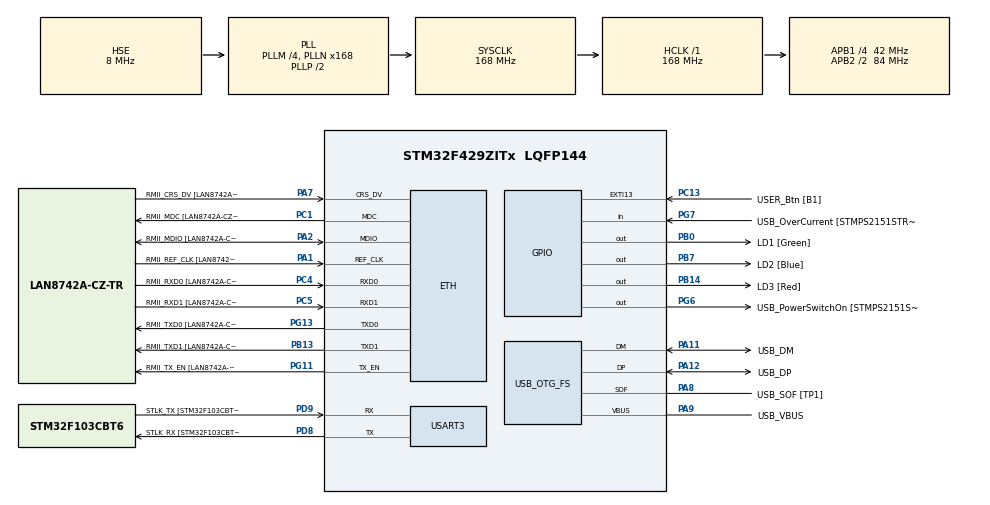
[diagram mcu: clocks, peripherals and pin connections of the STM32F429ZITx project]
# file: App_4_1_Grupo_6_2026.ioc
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ETH.MediaInterface=HAL_ETH_RMII_MODE
ETH.PHY_Name=LAN8742A_PHY_ADDRESS
ETH.PHY_Value=0
ETH.PhyAddress=0
Mcu.Family=STM32F4
Mcu.Name=STM32F429ZITx
Mcu.Package=LQFP144
NVIC.PriorityGroup=NVIC_PRIORITYGROUP_4
PA1.GPIO_Label=RMII_REF_CLK [LAN8742A-CZ-TR_REFCLK0]
PA1.Mode=RMII
PA1.Signal=ETH_REF_CLK
PA10.GPIO_Label=USB_ID
PA10.Signal=USB_OTG_FS_ID
PA11.GPIO_Label=USB_DM
PA11.Mode=Device_Only
PA11.Signal=USB_OTG_FS_DM
PA12.GPIO_Label=USB_DP
PA12.Mode=Device_Only
PA12.Signal=USB_OTG_FS_DP
PA13.GPIO_Label=TMS
PA13.Mode=Serial_Wire
PA13.Signal=SYS_JTMS-SWDIO
PA14.GPIO_Label=TCK
PA14.Mode=Serial_Wire
PA14.Signal=SYS_JTCK-SWCLK
PA2.GPIO_Label=RMII_MDIO [LAN8742A-CZ-TR_MDIO]
PA2.Mode=RMII
PA2.Signal=ETH_MDIO
PA7.GPIO_Label=RMII_CRS_DV [LAN8742A-CZ-TR_CRS_DV]
PA7.Mode=RMII
PA7.Signal=ETH_CRS_DV
PA8.GPIO_Label=USB_SOF [TP1]
PA8.Mode=Activate_SOF_FS
PA8.Signal=USB_OTG_FS_SOF
PA9.GPIO_Label=USB_VBUS
PA9.Mode=Activate_VBUS
PA9.Signal=USB_OTG_FS_VBUS
PB0.GPIO_Label=LD1 [Green]
PB0.Signal=GPIO_Output
PB13.GPIO_Label=RMII_TXD1 [LAN8742A-CZ-TR_TXD1]
PB13.Mode=RMII
PB13.Signal=ETH_TXD1
PB14.GPIO_Label=LD3 [Red]
PB14.Signal=GPIO_Output
PB7.GPIO_Label=LD2 [Blue]
PB7.Signal=GPIO_Output
PC1.GPIO_Label=RMII_MDC [LAN8742A-CZ-TR_MDC]
PC1.Mode=RMII
PC1.Signal=ETH_MDC
PC13.GPIO_Label=USER_Btn [B1]
PC13.Signal=GPXTI13
PC14/OSC32_IN.Mode=LSE-External-Oscillator
PC14/OSC32_IN.Signal=RCC_OSC32_IN
PC15/OSC32_OUT.Mode=LSE-External-Oscillator
PC15/OSC32_OUT.Signal=RCC_OSC32_OUT
PC4.GPIO_Label=RMII_RXD0 [LAN8742A-CZ-TR_RXD0]
PC4.Mode=RMII
PC4.Signal=ETH_RXD0
PC5.GPIO_Label=RMII_RXD1 [LAN8742A-CZ-TR_RXD1]
PC5.Mode=RMII
PC5.Signal=ETH_RXD1
PD8.GPIO_Label=STLK_RX [STM32F103CBT6_PA3]
PD8.Mode=Asynchronous
PD8.Signal=USART3_TX
PD9.GPIO_Label=STLK_TX [STM32F103CBT6_PA2]
PD9.Mode=Asynchronous
PD9.Signal=USART3_RX
PG11.GPIO_Label=RMII_TX_EN [LAN8742A-CZ-TR_TXEN]
PG11.Mode=RMII
PG11.Signal=ETH_TX_EN
PG13.GPIO_Label=RMII_TXD0 [LAN8742A-CZ-TR_TXD0]
PG13.Mode=RMII
PG13.Signal=ETH_TXD0
PG6.GPIO_Label=USB_PowerSwitchOn [STMPS2151STR_EN]
PG6.Signal=GPIO_Output
PG7.GPIO_Label=USB_OverCurrent [STMPS2151STR_FAULT]
PG7.Signal=GPIO_Input
PH0/OSC_IN.GPIO_Label=MCO [STM32F103CBT6_PA8]
PH0/OSC_IN.Mode=HSE-External-Clock-Source
PH0/OSC_IN.Signal=RCC_OSC_IN
PH1/OSC_OUT.Mode=HSE-External-Clock-Source
PH1/OSC_OUT.Signal=RCC_OSC_OUT
ProjectManager.HeapSize=0x200
ProjectManager.StackSize=0x400
ProjectManager.TargetToolchain=STM32CubeIDE
RCC.48MHZClocksFreq_Value=48000000
RCC.AHBFreq_Value=168000000
RCC.APB1CLKDivider=RCC_HCLK_DIV4
RCC.APB1Freq_Value=42000000
RCC.APB1TimFreq_Value=84000000
RCC.APB2CLKDivider=RCC_HCLK_DIV2
RCC.APB2Freq_Value=84000000
RCC.APB2TimCLKDivider=2
RCC.APB2TimFreq_Value=168000000
RCC.CortexFreq_Value=168000000
RCC.HCLKFreq_Value=168000000
RCC.HSE_VALUE=8000000
RCC.HSI_VALUE=16000000
RCC.PLLM=4
RCC.PLLMUL=RCC_PLL_MUL9
RCC.PLLN=168
RCC.PLLQ=7
RCC.PRESCALERUSB=RCC_USBCLKSOURCE_PLL_DIV1_5
RCC.SYSCLKFreq_VALUE=168000000
RCC.SYSCLKSource=RCC_SYSCLKSOURCE_PLLCLK
RCC.SYSCLKSourceVirtual=RCC_SYSCLKSOURCE_PLLCLK
RCC.USBFreq_Value=48000000
RCC.VCOOutputFreq_Value=336000000
USART3.VirtualMode=VM_ASYNC
USB_OTG_FS.VirtualMode=Device_Only
board=NUCLEO-F429ZI

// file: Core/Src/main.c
/* USER CODE BEGIN Header */
/*
 * AFP 4 - Tecnicas Digitales II - Grupo 6 - 2025
 * App 1.1 modificada para usar el driver de retardos no bloqueantes
 * (se reemplazo el HAL_Delay por delayInit/delayRead/delayWrite)
 * Placa: NUCLEO-F429ZI
 */
/* USER CODE END Header */
#include "main.h"
#include "string.h"

/* USER CODE BEGIN Includes */
#include "header.h"   // driver de delays no bloqueantes (carpeta Drivers/API)
/* USER CODE END Includes */

/* USER CODE BEGIN PTD */
typedef struct {
	GPIO_TypeDef *puerto;
	uint16_t pin;
} Led;
/* USER CODE END PTD */

/* USER CODE BEGIN PD */
#define CANT_LEDS 3
#define TIEMPO_ON 200
#define TIEMPO_OFF 200
/* USER CODE END PD */

ETH_TxPacketConfig TxConfig;
ETH_DMADescTypeDef  DMARxDscrTab[ETH_RX_DESC_CNT]; /* Ethernet Rx DMA Descriptors */
ETH_DMADescTypeDef  DMATxDscrTab[ETH_TX_DESC_CNT]; /* Ethernet Tx DMA Descriptors */

ETH_HandleTypeDef heth;

UART_HandleTypeDef huart3;

PCD_HandleTypeDef hpcd_USB_OTG_FS;

/* USER CODE BEGIN PV */
Led leds[CANT_LEDS] = {
	{ GPIOB, GPIO_PIN_0 },   // LED1 verde
	{ GPIOB, GPIO_PIN_7 },   // LED2 azul
	{ GPIOB, GPIO_PIN_14 }   // LED3 rojo
};

// variable del driver para el retardo de la secuencia de leds
delay_t retardoLeds;

// para saber en que led estamos y si esta prendido o apagado
uint8_t indiceLed = 0;
uint8_t ledEncendido = 1;   // arranca prendido, por eso el 1
/* USER CODE END PV */

void SystemClock_Config(void);
static void MX_GPIO_Init(void);
static void MX_ETH_Init(void);
static void MX_USART3_UART_Init(void);
static void MX_USB_OTG_FS_PCD_Init(void);

int main(void)
{

  /* MCU Configuration--------------------------------------------------------*/

  /* Reset of all peripherals, Initializes the Flash interface and the Systick. */
  HAL_Init();

  /* Configure the system clock */
  SystemClock_Config();

  /* Initialize all configured peripherals */
  MX_GPIO_Init();
  MX_ETH_Init();
  MX_USART3_UART_Init();
  MX_USB_OTG_FS_PCD_Init();
  /* USER CODE BEGIN 2 */
  // pruebas basicas del driver (punto 2 de la consigna), se dejan comentadas
  // para no interferir con la app, sirvieron para probar antes de integrar:
  //
  // delay_t delayPrueba;
  // delayInit(&delayPrueba, 500);
  // while(1){
  //     if(delayRead(&delayPrueba)){
  //         HAL_GPIO_TogglePin(GPIOB, GPIO_PIN_0);
  //     }
  // }

  // prendo el primer led antes de arrancar el while, y cargo el delay
  // con el tiempo de ON para que la primera vuelta funcione bien
  HAL_GPIO_WritePin(leds[indiceLed].puerto, leds[indiceLed].pin, GPIO_PIN_SET);
  delayInit(&retardoLeds, TIEMPO_ON);
  /* USER CODE END 2 */

  /* Infinite loop */
  while (1)
  {

    /* USER CODE BEGIN 3 */
    // delayRead se llama todo el tiempo (no bloqueante), y devuelve
    // true recien cuando se cumplio el tiempo cargado
    if (delayRead(&retardoLeds))
    {
      if (ledEncendido)
      {
        // se cumplio el tiempo de ON -> apago el led actual
        HAL_GPIO_WritePin(leds[indiceLed].puerto, leds[indiceLed].pin, GPIO_PIN_RESET);
        ledEncendido = 0;
        delayWrite(&retardoLeds, TIEMPO_OFF);   // ahora cuento el tiempo de OFF
      }
      else
      {
        // se cumplio el tiempo de OFF -> paso al siguiente led y lo prendo
        indiceLed = (indiceLed + 1) % CANT_LEDS;
        HAL_GPIO_WritePin(leds[indiceLed].puerto, leds[indiceLed].pin, GPIO_PIN_SET);
        ledEncendido = 1;
        delayWrite(&retardoLeds, TIEMPO_ON);
      }
    }

    // como delayRead no bloquea, aca abajo podria ir cualquier otra cosa
    // (leer un pulsador, otro led, etc) y funcionaria en paralelo sin
    // esperar a que termine la secuencia de leds - esa es la ventaja
    // de usar retardos no bloqueantes en vez de HAL_Delay

  }
  /* USER CODE END 3 */
}

void SystemClock_Config(void)
{
  RCC_OscInitTypeDef RCC_OscInitStruct = {0};
  RCC_ClkInitTypeDef RCC_ClkInitStruct = {0};

  /** Configure the main internal regulator output voltage
  */
  __HAL_RCC_PWR_CLK_ENABLE();
  __HAL_PWR_VOLTAGESCALING_CONFIG(PWR_REGULATOR_VOLTAGE_SCALE1);

  /** Initializes the RCC Oscillators according to the specified parameters
  * in the RCC_OscInitTypeDef structure.
  */
  RCC_OscInitStruct.OscillatorType = RCC_OSCILLATORTYPE_HSE;
  RCC_OscInitStruct.HSEState = RCC_HSE_BYPASS;
  RCC_OscInitStruct.PLL.PLLState = RCC_PLL_ON;
  RCC_OscInitStruct.PLL.PLLSource = RCC_PLLSOURCE_HSE;
  RCC_OscInitStruct.PLL.PLLM = 4;
  RCC_OscInitStruct.PLL.PLLN = 168;
  RCC_OscInitStruct.PLL.PLLP = RCC_PLLP_DIV2;
  RCC_OscInitStruct.PLL.PLLQ = 7;
  if (HAL_RCC_OscConfig(&RCC_OscInitStruct) != HAL_OK)
  {
    Error_Handler();
  }

  /** Initializes the CPU, AHB and APB buses clocks
  */
  RCC_ClkInitStruct.ClockType = RCC_CLOCKTYPE_HCLK|RCC_CLOCKTYPE_SYSCLK
                              |RCC_CLOCKTYPE_PCLK1|RCC_CLOCKTYPE_PCLK2;
  RCC_ClkInitStruct.SYSCLKSource = RCC_SYSCLKSOURCE_PLLCLK;
  RCC_ClkInitStruct.AHBCLKDivider = RCC_SYSCLK_DIV1;
  RCC_ClkInitStruct.APB1CLKDivider = RCC_HCLK_DIV4;
  RCC_ClkInitStruct.APB2CLKDivider = RCC_HCLK_DIV2;

  if (HAL_RCC_ClockConfig(&RCC_ClkInitStruct, FLASH_LATENCY_5) != HAL_OK)
  {
    Error_Handler();
  }
}

static void MX_ETH_Init(void)
{

   static uint8_t MACAddr[6];

  heth.Instance = ETH;
  MACAddr[0] = 0x00;
  MACAddr[1] = 0x80;
  MACAddr[2] = 0xE1;
  MACAddr[3] = 0x00;
  MACAddr[4] = 0x00;
  MACAddr[5] = 0x00;
  heth.Init.MACAddr = &MACAddr[0];
  heth.Init.MediaInterface = HAL_ETH_RMII_MODE;
  heth.Init.TxDesc = DMATxDscrTab;
  heth.Init.RxDesc = DMARxDscrTab;
  heth.Init.RxBuffLen = 1524;

  if (HAL_ETH_Init(&heth) != HAL_OK)
  {
    Error_Handler();
  }

  memset(&TxConfig, 0 , sizeof(ETH_TxPacketConfig));
  TxConfig.Attributes = ETH_TX_PACKETS_FEATURES_CSUM | ETH_TX_PACKETS_FEATURES_CRCPAD;
  TxConfig.ChecksumCtrl = ETH_CHECKSUM_IPHDR_PAYLOAD_INSERT_PHDR_CALC;
  TxConfig.CRCPadCtrl = ETH_CRC_PAD_INSERT;

}

static void MX_USART3_UART_Init(void)
{

  huart3.Instance = USART3;
  huart3.Init.BaudRate = 115200;
  huart3.Init.WordLength = UART_WORDLENGTH_8B;
  huart3.Init.StopBits = UART_STOPBITS_1;
  huart3.Init.Parity = UART_PARITY_NONE;
  huart3.Init.Mode = UART_MODE_TX_RX;
  huart3.Init.HwFlowCtl = UART_HWCONTROL_NONE;
  huart3.Init.OverSampling = UART_OVERSAMPLING_16;
  if (HAL_UART_Init(&huart3) != HAL_OK)
  {
    Error_Handler();
  }

}

static void MX_USB_OTG_FS_PCD_Init(void)
{

  hpcd_USB_OTG_FS.Instance = USB_OTG_FS;
  hpcd_USB_OTG_FS.Init.dev_endpoints = 4;
  hpcd_USB_OTG_FS.Init.speed = PCD_SPEED_FULL;
  hpcd_USB_OTG_FS.Init.dma_enable = DISABLE;
  hpcd_USB_OTG_FS.Init.phy_itface = PCD_PHY_EMBEDDED;
  hpcd_USB_OTG_FS.Init.Sof_enable = ENABLE;
  hpcd_USB_OTG_FS.Init.low_power_enable = DISABLE;
  hpcd_USB_OTG_FS.Init.lpm_enable = DISABLE;
  hpcd_USB_OTG_FS.Init.vbus_sensing_enable = ENABLE;
  hpcd_USB_OTG_FS.Init.use_dedicated_ep1 = DISABLE;
  if (HAL_PCD_Init(&hpcd_USB_OTG_FS) != HAL_OK)
  {
    Error_Handler();
  }

}

static void MX_GPIO_Init(void)
{
  GPIO_InitTypeDef GPIO_InitStruct = {0};

  /* GPIO Ports Clock Enable */
  __HAL_RCC_GPIOC_CLK_ENABLE();
  __HAL_RCC_GPIOH_CLK_ENABLE();
  __HAL_RCC_GPIOA_CLK_ENABLE();
  __HAL_RCC_GPIOB_CLK_ENABLE();
  __HAL_RCC_GPIOD_CLK_ENABLE();
  __HAL_RCC_GPIOG_CLK_ENABLE();

  /*Configure GPIO pin Output Level */
  HAL_GPIO_WritePin(GPIOB, LD1_Pin|LD3_Pin|LD2_Pin, GPIO_PIN_RESET);

  /*Configure GPIO pin Output Level */
  HAL_GPIO_WritePin(USB_PowerSwitchOn_GPIO_Port, USB_PowerSwitchOn_Pin, GPIO_PIN_RESET);

  /*Configure GPIO pin : USER_Btn_Pin */
  GPIO_InitStruct.Pin = USER_Btn_Pin;
  GPIO_InitStruct.Mode = GPIO_MODE_IT_RISING;
  GPIO_InitStruct.Pull = GPIO_NOPULL;
  HAL_GPIO_Init(USER_Btn_GPIO_Port, &GPIO_InitStruct);

  /*Configure GPIO pins : LD1_Pin LD3_Pin LD2_Pin */
  GPIO_InitStruct.Pin = LD1_Pin|LD3_Pin|LD2_Pin;
  GPIO_InitStruct.Mode = GPIO_MODE_OUTPUT_PP;
  GPIO_InitStruct.Pull = GPIO_NOPULL;
  GPIO_InitStruct.Speed = GPIO_SPEED_FREQ_LOW;
  HAL_GPIO_Init(GPIOB, &GPIO_InitStruct);

  /*Configure GPIO pin : USB_PowerSwitchOn_Pin */
  GPIO_InitStruct.Pin = USB_PowerSwitchOn_Pin;
  GPIO_InitStruct.Mode = GPIO_MODE_OUTPUT_PP;
  GPIO_InitStruct.Pull = GPIO_NOPULL;
  GPIO_InitStruct.Speed = GPIO_SPEED_FREQ_LOW;
  HAL_GPIO_Init(USB_PowerSwitchOn_GPIO_Port, &GPIO_InitStruct);

  /*Configure GPIO pin : USB_OverCurrent_Pin */
  GPIO_InitStruct.Pin = USB_OverCurrent_Pin;
  GPIO_InitStruct.Mode = GPIO_MODE_INPUT;
  GPIO_InitStruct.Pull = GPIO_NOPULL;
  HAL_GPIO_Init(USB_OverCurrent_GPIO_Port, &GPIO_InitStruct);

}

void Error_Handler(void)
{
  __disable_irq();
  while (1)
  {
  }
}
